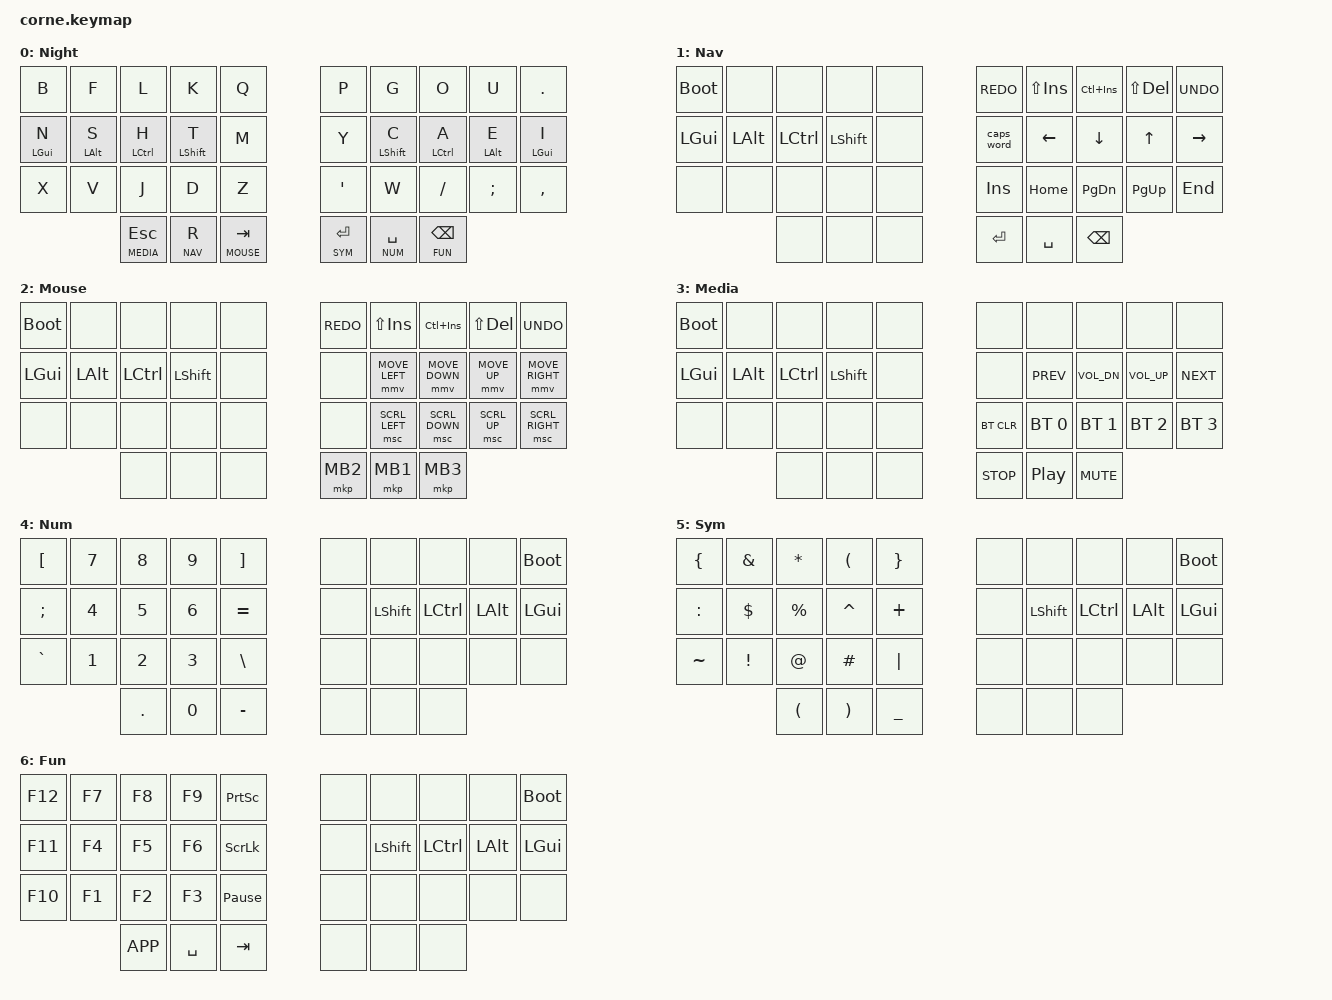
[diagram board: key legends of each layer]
/*
 * Night alphas with Miryoku thumb layers and home row mods (GACS).
 * Differences from stock Miryoku: R replaces Space on the left thumb (NAV),
 * Space is on the right thumb (NUM), Backspace is where Delete was (FUN).
 * Both middle thumb keys together send Delete.
 */

#include <behaviors.dtsi>
#include <dt-bindings/zmk/keys.h>
#include <dt-bindings/zmk/bt.h>
#include <dt-bindings/zmk/pointing.h>

#define BASE  0
#define NAV   1
#define MOUSE 2
#define MEDIA 3
#define NUM   4
#define SYM   5
#define FUN   6

// Key positions (36-key layout)
//  0  1  2  3  4     5  6  7  8  9
// 10 11 12 13 14    15 16 17 18 19
// 20 21 22 23 24    25 26 27 28 29
//       30 31 32    33 34 35
#define KEYS_L 0 1 2 3 4 10 11 12 13 14 20 21 22 23 24
#define KEYS_R 5 6 7 8 9 15 16 17 18 19 25 26 27 28 29
#define THUMBS 30 31 32 33 34 35

// Use the 36-key (5 column) physical layout
/ {
    chosen {
        zmk,physical-layout = &foostan_corne_5col_layout;
    };
};

/ {
    behaviors {
        // Home row mod: tap-preferred, only becomes a modifier when held past the tapping term
        hml: home_row_mod_left {
            compatible = "zmk,behavior-hold-tap";
            #binding-cells = <2>;
            flavor = "tap-preferred";
            tapping-term-ms = <200>;
            quick-tap-ms = <175>;
            bindings = <&kp>, <&kp>;
        };

        hmr: home_row_mod_right {
            compatible = "zmk,behavior-hold-tap";
            #binding-cells = <2>;
            flavor = "tap-preferred";
            tapping-term-ms = <200>;
            quick-tap-ms = <175>;
            bindings = <&kp>, <&kp>;
        };

        // GUI needs a longer hold (500 ms) so it doesn't fire by accident
        hml_gui: home_row_mod_left_gui {
            compatible = "zmk,behavior-hold-tap";
            #binding-cells = <2>;
            flavor = "tap-preferred";
            tapping-term-ms = <500>;
            quick-tap-ms = <175>;
            bindings = <&kp>, <&kp>;
        };

        hmr_gui: home_row_mod_right_gui {
            compatible = "zmk,behavior-hold-tap";
            #binding-cells = <2>;
            flavor = "tap-preferred";
            tapping-term-ms = <500>;
            quick-tap-ms = <175>;
            bindings = <&kp>, <&kp>;
        };

        // Thumb layer tap
        lt_thumb: layer_tap_thumb {
            compatible = "zmk,behavior-hold-tap";
            #binding-cells = <2>;
            flavor = "tap-preferred";
            tapping-term-ms = <200>;
            quick-tap-ms = <0>;
            bindings = <&mo>, <&kp>;
        };
    };

    combos {
        compatible = "zmk,combos";

        combo_delete {
            timeout-ms = <50>;
            key-positions = <31 34>;
            bindings = <&kp DEL>;
            layers = <BASE>;
        };
    };

    keymap {
        compatible = "zmk,keymap";

        base_layer {
            display-name = "Night";
            bindings = <
                &kp B          &kp F          &kp L          &kp K          &kp Q            &kp P  &kp G          &kp O          &kp U          &kp DOT
                &hml_gui LGUI N    &hml LALT S    &hml LCTRL H   &hml LSHFT T   &kp M            &kp Y  &hmr LSHFT C   &hmr LCTRL A   &hmr LALT E    &hmr_gui LGUI I
                &kp X          &kp V          &kp J          &kp D          &kp Z            &kp SQT &kp W         &kp FSLH       &kp SEMI       &kp COMMA
                                              &lt_thumb MEDIA ESC &lt_thumb NAV R &lt_thumb MOUSE TAB  &lt_thumb SYM RET &lt_thumb NUM SPACE &lt_thumb FUN BSPC
            >;
        };

        nav_layer {
            display-name = "Nav";
            bindings = <
                &bootloader  &none      &none      &none      &none         &kp K_REDO   &kp LS(INS)  &kp LC(INS)  &kp LS(DEL)  &kp K_UNDO
                &kp LGUI     &kp LALT   &kp LCTRL  &kp LSHFT  &none         &caps_word   &kp LEFT     &kp DOWN     &kp UP       &kp RIGHT
                &none        &none      &none      &none      &none         &kp INS      &kp HOME     &kp PG_DN    &kp PG_UP    &kp END
                                        &none      &none      &none         &kp RET      &kp SPACE    &kp BSPC
            >;
        };

        mouse_layer {
            display-name = "Mouse";
            bindings = <
                &bootloader  &none      &none      &none      &none         &kp K_REDO   &kp LS(INS)  &kp LC(INS)  &kp LS(DEL)  &kp K_UNDO
                &kp LGUI     &kp LALT   &kp LCTRL  &kp LSHFT  &none         &none        &mmv MOVE_LEFT &mmv MOVE_DOWN &mmv MOVE_UP &mmv MOVE_RIGHT
                &none        &none      &none      &none      &none         &none        &msc SCRL_LEFT &msc SCRL_DOWN &msc SCRL_UP &msc SCRL_RIGHT
                                        &none      &none      &none         &mkp MB2     &mkp MB1     &mkp MB3
            >;
        };

        media_layer {
            display-name = "Media";
            bindings = <
                &bootloader  &none      &none      &none      &none         &none         &none         &none         &none         &none        
                &kp LGUI     &kp LALT   &kp LCTRL  &kp LSHFT  &none         &none        &kp C_PREV   &kp C_VOL_DN &kp C_VOL_UP &kp C_NEXT
                &none        &none      &none      &none      &none         &bt BT_CLR   &bt BT_SEL 0 &bt BT_SEL 1 &bt BT_SEL 2 &bt BT_SEL 3
                                        &none      &none      &none         &kp C_STOP   &kp C_PP     &kp C_MUTE
            >;
        };

        num_layer {
            display-name = "Num";
            bindings = <
                &kp LBKT     &kp N7     &kp N8     &kp N9     &kp RBKT      &none  &none       &none       &none      &bootloader
                &kp SEMI     &kp N4     &kp N5     &kp N6     &kp EQUAL     &none  &kp LSHFT   &kp LCTRL   &kp LALT   &kp LGUI
                &kp GRAVE    &kp N1     &kp N2     &kp N3     &kp BSLH      &none  &none       &none       &none      &none
                                        &kp DOT    &kp N0     &kp MINUS     &none  &none       &none
            >;
        };

        sym_layer {
            display-name = "Sym";
            bindings = <
                &kp LBRC     &kp AMPS   &kp ASTRK  &kp LPAR   &kp RBRC      &none  &none       &none       &none      &bootloader
                &kp COLON    &kp DLLR   &kp PRCNT  &kp CARET  &kp PLUS      &none  &kp LSHFT   &kp LCTRL   &kp LALT   &kp LGUI
                &kp TILDE    &kp EXCL   &kp AT     &kp HASH   &kp PIPE      &none  &none       &none       &none      &none
                                        &kp LPAR   &kp RPAR   &kp UNDER     &none  &none       &none
            >;
        };

        fun_layer {
            display-name = "Fun";
            bindings = <
                &kp F12      &kp F7     &kp F8     &kp F9     &kp PSCRN     &none  &none       &none       &none      &bootloader
                &kp F11      &kp F4     &kp F5     &kp F6     &kp SLCK      &none  &kp LSHFT   &kp LCTRL   &kp LALT   &kp LGUI
                &kp F10      &kp F1     &kp F2     &kp F3     &kp PAUSE_BREAK &none &none      &none       &none      &none
                                        &kp K_APP  &kp SPACE  &kp TAB       &none  &none       &none
            >;
        };
    };
};
